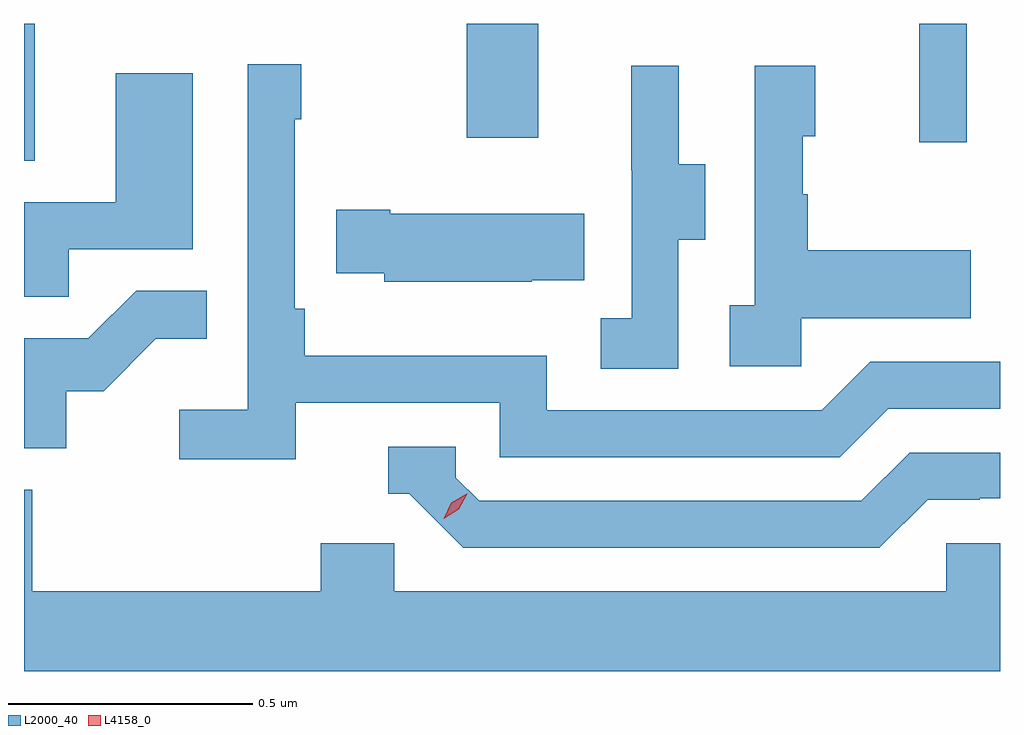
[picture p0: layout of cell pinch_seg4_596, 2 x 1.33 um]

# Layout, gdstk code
import gdstk
lib = gdstk.Library(unit=1e-6, precision=1e-09)
def R(c, l, rs):  # rectangles x0, y0, x1, y1
    for r in rs: c.add(gdstk.rectangle(r[:2], r[2:], *l))
def P(c, l, *ps):  # polygons
    for p in ps: c.add(gdstk.Polygon(p, *l))
L2000_40 = (2000, 40)
L4158_0 = (4158, 0)

pinch_seg4_596 = lib.new_cell('pinch_seg4_596')
R(pinch_seg4_596, L2000_40, [(1053.585,781.882,1053.607,782.163), (1055.42,781.92,1055.517,782.163), (1054.492,781.929,1054.639,782.163)])
P(pinch_seg4_596, L2000_40, [(1054.142,781.386),(1054.56,781.386),(1054.56,781.275),(1055.257,781.275),(1055.356,781.374),(1055.585,781.374),(1055.585,781.47),(1055.319,781.47),(1055.22,781.371),(1054.656,781.371),(1054.656,781.483),(1054.16,781.483),(1054.16,781.579),(1054.14,781.579),(1054.14,781.967),(1054.153,781.967),(1054.153,782.08),(1054.044,782.08),(1054.044,781.372),(1053.903,781.372),(1053.903,781.27),(1054.142,781.27)],
  [(1054.926,781.72),(1054.981,781.72),(1054.981,781.875),(1054.927,781.875),(1054.927,782.077),(1054.829,782.077),(1054.829,781.863),(1054.83,781.863),(1054.83,781.559),(1054.767,781.559),(1054.767,781.456),(1054.926,781.456)],
  [(1055.178,781.559),(1055.525,781.559),(1055.525,781.699),(1055.191,781.699),(1055.191,781.814),(1055.181,781.814),(1055.181,781.932),(1055.206,781.932),(1055.206,782.077),(1055.082,782.077),(1055.082,781.586),(1055.031,781.586),(1055.031,781.461),(1055.178,781.461)],
  [(1053.677,781.701),(1053.931,781.701),(1053.931,782.062),(1053.773,782.062),(1053.773,781.797),(1053.585,781.797),(1053.585,781.603),(1053.677,781.603)],
  [(1054.625,781.637),(1054.733,781.637),(1054.733,781.774),(1054.336,781.774),(1054.336,781.782),(1054.225,781.782),(1054.225,781.652),(1054.323,781.652),(1054.323,781.634),(1054.625,781.634)],
  [(1053.672,781.41),(1053.748,781.41),(1053.855,781.517),(1053.959,781.517),(1053.959,781.616),(1053.815,781.616),(1053.717,781.518),(1053.585,781.518),(1053.585,781.293),(1053.672,781.293)],
  [(1055.437,781.188),(1055.544,781.188),(1055.544,781.191),(1055.585,781.191),(1055.585,781.284),(1055.4,781.284),(1055.301,781.185),(1054.518,781.185),(1054.47,781.233),(1054.47,781.296),(1054.331,781.296),(1054.331,781.2),(1054.374,781.2),(1054.485,781.089),(1055.338,781.089)],
  [(1053.585,781.208),(1053.585,780.836),(1055.585,780.836),(1055.585,781.098),(1055.475,781.098),(1055.475,781),(1054.344,781),(1054.344,781.098),(1054.193,781.098),(1054.193,781),(1053.602,781),(1053.602,781.208)])
P(pinch_seg4_596, L4158_0, [(1054.445,781.149),(1054.445,781.149),(1054.461,781.181),(1054.492,781.2),(1054.493,781.2),(1054.493,781.2),(1054.476,781.168),(1054.445,781.149)])

lib.write_gds('pinch_seg4_596.gds')
